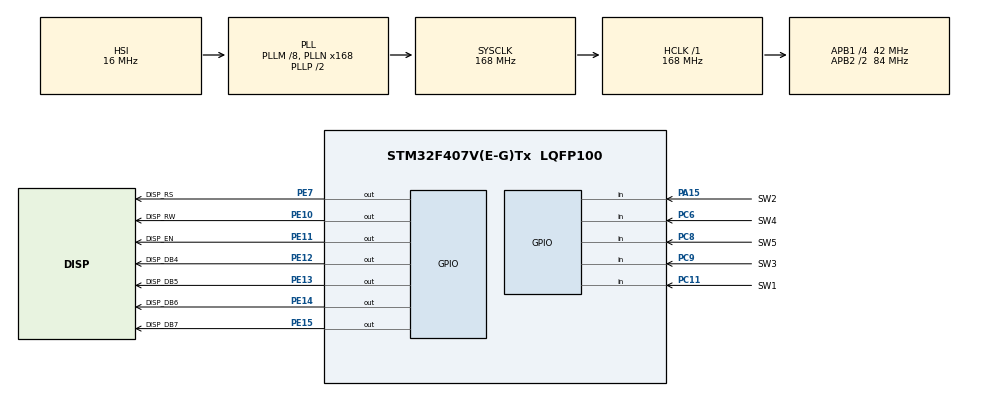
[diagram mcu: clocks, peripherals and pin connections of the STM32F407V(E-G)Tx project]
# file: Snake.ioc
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FREERTOS.Mutexes01=displayMutex,Dynamic,NULL
FREERTOS.Queues01=buttonQueue,8,button_evn_t,0,Dynamic,NULL,NULL
FREERTOS.Tasks01=refreshSnakeTas,8,128,RefreshSnakeTask,Default,NULL,Dynamic,NULL,NULL;buttonTask,24,128,ButtonTask,Default,NULL,Dynamic,NULL,NULL
FREERTOS.Timers01=buttonTimer,ButtonTimer,osTimerPeriodic,Default,NULL,Dynamic,NULL
FREERTOS.configUSE_TIMERS=1
Mcu.Family=STM32F4
Mcu.Name=STM32F407V(E-G)Tx
Mcu.Package=LQFP100
NVIC.PriorityGroup=NVIC_PRIORITYGROUP_4
PA13.Mode=Serial_Wire
PA13.Signal=SYS_JTMS-SWDIO
PA14.Mode=Serial_Wire
PA14.Signal=SYS_JTCK-SWCLK
PA15.GPIO_Label=SW2
PA15.Signal=GPIO_Input
PB1.Signal=ADCx_IN9
PC11.GPIO_Label=SW1
PC11.Signal=GPIO_Input
PC6.GPIO_Label=SW4
PC6.Signal=GPIO_Input
PC8.GPIO_Label=SW5
PC8.Signal=GPIO_Input
PC9.GPIO_Label=SW3
PC9.Signal=GPIO_Input
PE10.GPIO_Label=DISP_RW
PE10.Signal=GPIO_Output
PE11.GPIO_Label=DISP_EN
PE11.Signal=GPIO_Output
PE12.GPIO_Label=DISP_DB4
PE12.Signal=GPIO_Output
PE13.GPIO_Label=DISP_DB5
PE13.Signal=GPIO_Output
PE14.GPIO_Label=DISP_DB6
PE14.Signal=GPIO_Output
PE15.GPIO_Label=DISP_DB7
PE15.Signal=GPIO_Output
PE7.GPIO_Label=DISP_RS
PE7.Signal=GPIO_Output
PH0-OSC_IN.Mode=HSE-External-Oscillator
PH0-OSC_IN.Signal=RCC_OSC_IN
PH1-OSC_OUT.Mode=HSE-External-Oscillator
PH1-OSC_OUT.Signal=RCC_OSC_OUT
ProjectManager.HeapSize=0x200
ProjectManager.StackSize=0x400
ProjectManager.TargetToolchain=STM32CubeIDE
RCC.48MHZClocksFreq_Value=84000000
RCC.AHBFreq_Value=168000000
RCC.APB1CLKDivider=RCC_HCLK_DIV4
RCC.APB1Freq_Value=42000000
RCC.APB1TimFreq_Value=84000000
RCC.APB2CLKDivider=RCC_HCLK_DIV2
RCC.APB2Freq_Value=84000000
RCC.APB2TimFreq_Value=168000000
RCC.CortexFreq_Value=168000000
RCC.HCLKFreq_Value=168000000
RCC.HSE_VALUE=8000000
RCC.HSI_VALUE=16000000
RCC.LSE_VALUE=32768
RCC.PLLM=8
RCC.PLLN=168
RCC.SYSCLKFreq_VALUE=168000000
RCC.SYSCLKSource=RCC_SYSCLKSOURCE_PLLCLK
RCC.VCOOutputFreq_Value=336000000
SH.ADCx_IN9.0=ADC1_IN9
VP_FREERTOS_VS_CMSIS_V2.Mode=CMSIS_V2
board=custom

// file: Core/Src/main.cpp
/* USER CODE BEGIN Header */
/**
  ******************************************************************************
  * @file           : main.c
  * @brief          : Main program body
  ******************************************************************************
  * @attention
  *
  * Copyright (c) 2023 STMicroelectronics.
  * All rights reserved.
  *
  * This software is licensed under terms that can be found in the LICENSE file
  * in the root directory of this software component.
  * If no LICENSE file comes with this software, it is provided AS-IS.
  *
  ******************************************************************************
  */
/* USER CODE END Header */
#include "main.h"
#include "cmsis_os.h"

/* USER CODE BEGIN Includes */
#include <hd44780u.h>
#include <button_driver.h>
#include <gpio.hpp>
#include <stdio.h>
#include <string.h>
#include <snake.hpp>
/* USER CODE END Includes */

/* USER CODE BEGIN PTD */
struct SButtonEvent
{
  size_t idx;
  bool state;
};

typedef struct SButtonEvent button_evn_t;
/* USER CODE END PTD */

/* USER CODE BEGIN PM */
#define GET_ARR_COUNT(arr) (sizeof(arr) / sizeof(arr[0]))
/* USER CODE END PM */

/* Definitions for refreshSnakeTas */
osThreadId_t refreshSnakeTasHandle;
const osThreadAttr_t refreshSnakeTas_attributes = {
  .name = "refreshSnakeTas",
  .stack_size = 128 * 4,
  .priority = (osPriority_t) osPriorityLow,
};
/* Definitions for buttonTask */
osThreadId_t buttonTaskHandle;
const osThreadAttr_t buttonTask_attributes = {
  .name = "buttonTask",
  .stack_size = 128 * 4,
  .priority = (osPriority_t) osPriorityNormal,
};
/* Definitions for buttonQueue */
osMessageQueueId_t buttonQueueHandle;
const osMessageQueueAttr_t buttonQueue_attributes = {
  .name = "buttonQueue"
};
/* Definitions for buttonTimer */
osTimerId_t buttonTimerHandle;
const osTimerAttr_t buttonTimer_attributes = {
  .name = "buttonTimer"
};
/* Definitions for displayMutex */
osMutexId_t displayMutexHandle;
const osMutexAttr_t displayMutex_attributes = {
  .name = "displayMutex"
};
/* USER CODE BEGIN PV */

const gpio_t kDisplayData[] =
{
  {DISP_DB4_GPIO_Port, DISP_DB4_Pin},
  {DISP_DB5_GPIO_Port, DISP_DB5_Pin},
  {DISP_DB6_GPIO_Port, DISP_DB6_Pin},
  {DISP_DB7_GPIO_Port, DISP_DB7_Pin}
};

hd44780u_t gDisplay =
{
  en : {DISP_EN_GPIO_Port, DISP_EN_Pin},
  rw : {DISP_RW_GPIO_Port, DISP_RW_Pin},
  rs : {DISP_RS_GPIO_Port, DISP_RS_Pin},
  dataPins : ((gpio_t* const)kDisplayData)
};

const gpio_t kButtonsGPIO[] =
{
  {SW1_GPIO_Port, SW1_Pin},
  {SW3_GPIO_Port, SW3_Pin},
  {SW4_GPIO_Port, SW4_Pin},
  {SW5_GPIO_Port, SW5_Pin},
  {SW2_GPIO_Port, SW2_Pin}
};

button_hanler_t gButtonHandlers[GET_ARR_COUNT(kButtonsGPIO)];
EMoveDirection gCurrDirection;
uint32_t gRenderTimeTick;
/* USER CODE END PV */

void SystemClock_Config(void);
static void MX_GPIO_Init(void);
void RefreshSnakeTask(void *argument);
void ButtonTask(void *argument);
void ButtonTimer(void *argument);

/* USER CODE BEGIN PFP */
void DrawScreen();
void SnakeMoveController(size_t idx);
/* USER CODE END PFP */

/* USER CODE BEGIN 0 */
static_assert(GET_ARR_COUNT(kButtonsGPIO) == GET_ARR_COUNT(gButtonHandlers), "Invalid buttons configuration!!!");
/* USER CODE END 0 */

int main(void)
{

  /* MCU Configuration--------------------------------------------------------*/

  /* Reset of all peripherals, Initializes the Flash interface and the Systick. */
  HAL_Init();

  /* Configure the system clock */
  SystemClock_Config();

  /* Initialize all configured peripherals */
  MX_GPIO_Init();

  /* Init scheduler */
  osKernelInitialize();
  /* Create the mutex(es) */
  /* creation of displayMutex */

  /* Create the timer(s) */
  /* creation of buttonTimer */
  buttonTimerHandle = osTimerNew(ButtonTimer, osTimerPeriodic, NULL, &buttonTimer_attributes);

  /* Create the queue(s) */
  /* creation of buttonQueue */
  buttonQueueHandle = osMessageQueueNew (8, sizeof(button_evn_t), &buttonQueue_attributes);

  /* Create the thread(s) */
  /* creation of refreshSnakeTas */
  refreshSnakeTasHandle = osThreadNew(RefreshSnakeTask, NULL, &refreshSnakeTas_attributes);

  /* creation of buttonTask */
  buttonTaskHandle = osThreadNew(ButtonTask, NULL, &buttonTask_attributes);

  /* Start scheduler */
  osKernelStart();
  /* We should never get here as control is now taken by the scheduler */
  /* Infinite loop */
  while (1)
  {

  }
}

void SystemClock_Config(void)
{
  RCC_OscInitTypeDef RCC_OscInitStruct = {0};
  RCC_ClkInitTypeDef RCC_ClkInitStruct = {0};

  /** Configure the main internal regulator output voltage
  */
  __HAL_RCC_PWR_CLK_ENABLE();
  __HAL_PWR_VOLTAGESCALING_CONFIG(PWR_REGULATOR_VOLTAGE_SCALE1);

  /** Initializes the RCC Oscillators according to the specified parameters
  * in the RCC_OscInitTypeDef structure.
  */
  RCC_OscInitStruct.OscillatorType = RCC_OSCILLATORTYPE_HSI;
  RCC_OscInitStruct.HSIState = RCC_HSI_ON;
  RCC_OscInitStruct.HSICalibrationValue = RCC_HSICALIBRATION_DEFAULT;
  RCC_OscInitStruct.PLL.PLLState = RCC_PLL_ON;
  RCC_OscInitStruct.PLL.PLLSource = RCC_PLLSOURCE_HSI;
  RCC_OscInitStruct.PLL.PLLM = 8;
  RCC_OscInitStruct.PLL.PLLN = 168;
  RCC_OscInitStruct.PLL.PLLP = RCC_PLLP_DIV2;
  RCC_OscInitStruct.PLL.PLLQ = 4;
  if (HAL_RCC_OscConfig(&RCC_OscInitStruct) != HAL_OK)
  {
    Error_Handler();
  }

  /** Initializes the CPU, AHB and APB buses clocks
  */
  RCC_ClkInitStruct.ClockType = RCC_CLOCKTYPE_HCLK|RCC_CLOCKTYPE_SYSCLK
                              |RCC_CLOCKTYPE_PCLK1|RCC_CLOCKTYPE_PCLK2;
  RCC_ClkInitStruct.SYSCLKSource = RCC_SYSCLKSOURCE_PLLCLK;
  RCC_ClkInitStruct.AHBCLKDivider = RCC_SYSCLK_DIV1;
  RCC_ClkInitStruct.APB1CLKDivider = RCC_HCLK_DIV4;
  RCC_ClkInitStruct.APB2CLKDivider = RCC_HCLK_DIV2;

  if (HAL_RCC_ClockConfig(&RCC_ClkInitStruct, FLASH_LATENCY_5) != HAL_OK)
  {
    Error_Handler();
  }
}

static void MX_GPIO_Init(void)
{
  GPIO_InitTypeDef GPIO_InitStruct = {0};

  /* GPIO Ports Clock Enable */
  __HAL_RCC_GPIOH_CLK_ENABLE();
  __HAL_RCC_GPIOB_CLK_ENABLE();
  __HAL_RCC_GPIOE_CLK_ENABLE();
  __HAL_RCC_GPIOC_CLK_ENABLE();
  __HAL_RCC_GPIOA_CLK_ENABLE();

  /*Configure GPIO pin Output Level */
  HAL_GPIO_WritePin(GPIOE, DISP_RS_Pin|DISP_RW_Pin|DISP_EN_Pin|DISP_DB4_Pin
                          |DISP_DB5_Pin|DISP_DB6_Pin|DISP_DB7_Pin, GPIO_PIN_RESET);

  /*Configure GPIO pin : PB1 */
  GPIO_InitStruct.Pin = GPIO_PIN_1;
  GPIO_InitStruct.Mode = GPIO_MODE_ANALOG;
  GPIO_InitStruct.Pull = GPIO_NOPULL;
  HAL_GPIO_Init(GPIOB, &GPIO_InitStruct);

  /*Configure GPIO pins : DISP_RS_Pin DISP_RW_Pin DISP_EN_Pin DISP_DB4_Pin
                           DISP_DB5_Pin DISP_DB6_Pin DISP_DB7_Pin */
  GPIO_InitStruct.Pin = DISP_RS_Pin|DISP_RW_Pin|DISP_EN_Pin|DISP_DB4_Pin
                          |DISP_DB5_Pin|DISP_DB6_Pin|DISP_DB7_Pin;
  GPIO_InitStruct.Mode = GPIO_MODE_OUTPUT_PP;
  GPIO_InitStruct.Pull = GPIO_NOPULL;
  GPIO_InitStruct.Speed = GPIO_SPEED_FREQ_LOW;
  HAL_GPIO_Init(GPIOE, &GPIO_InitStruct);

  /*Configure GPIO pins : SW4_Pin SW5_Pin SW3_Pin SW1_Pin */
  GPIO_InitStruct.Pin = SW4_Pin|SW5_Pin|SW3_Pin|SW1_Pin;
  GPIO_InitStruct.Mode = GPIO_MODE_INPUT;
  GPIO_InitStruct.Pull = GPIO_NOPULL;
  HAL_GPIO_Init(GPIOC, &GPIO_InitStruct);

  /*Configure GPIO pin : SW2_Pin */
  GPIO_InitStruct.Pin = SW2_Pin;
  GPIO_InitStruct.Mode = GPIO_MODE_INPUT;
  GPIO_InitStruct.Pull = GPIO_NOPULL;
  HAL_GPIO_Init(SW2_GPIO_Port, &GPIO_InitStruct);

}

/* USER CODE BEGIN 4 */

void HD44780UDelayUS(volatile uint32_t micros)
{
  if (micros % 1000)
  {
    micros /= 1000;
    ++micros;
  }
  else
  {
    micros /= 1000;
  }

  osDelay(micros);
}

void ButtonEventHanler(size_t idx, bool state)
{
  button_evn_t event{idx, state};
  osMessageQueuePut(buttonQueueHandle, &event, 0, 0);
}

void DrawScreen()
{
  char field[kMaxSnakeSize + 1];
  memset(field, ' ', kMaxSnakeSize);
  field[kMaxSnakeSize] = '\0';

  if (SnakeMove(gCurrDirection))
  {
    SnakeGenerateAple(osKernelGetSysTimerCount());
  }

  DrawSnake([&field](SPoint& point) -> void
  {
    field[(point.y * (kMaxPoint.x + 1)) + point.x] = 'O';
  });

  field[(gAple.y * (kMaxPoint.x + 1)) + gAple.x] = '+';

  if (osMutexAcquire(displayMutexHandle, osWaitForever) == osOK)
  {
    HD44780UWriteString(&gDisplay, field);
    osMutexRelease(displayMutexHandle);
    gRenderTimeTick = osKernelGetTickCount() + 1000;
  }
}

void SnakeMoveController(size_t idx)
{
  const EMoveDirection directions [] =
  {
    EMoveDirection::Right,
    EMoveDirection::Left,
    EMoveDirection::Up,
    EMoveDirection::Down
  };

  const EMoveDirection reversedDirections [] =
  {
    EMoveDirection::Left,
    EMoveDirection::Right,
    EMoveDirection::Down,
    EMoveDirection::Up
  };

  if ((directions[idx] != gCurrDirection) && (reversedDirections[idx] != gCurrDirection))
  {
    gCurrDirection = directions[idx];
    DrawScreen();
  }
}

/* USER CODE END 4 */

void RefreshSnakeTask(void *argument)
{
  /* USER CODE BEGIN 5 */
  gDisplay.blinkCursorState = false;
  gDisplay.cursorState = false;
  HD44780UInit(&gDisplay);
  SnakeReset();
  SnakeGenerateAple(osKernelGetSysTimerCount());
  gCurrDirection = EMoveDirection::Right;
  displayMutexHandle = osMutexNew(&displayMutex_attributes);
  /* Infinite loop */
  for(;;)
  {
    DrawScreen();
    osDelayUntil(gRenderTimeTick);
  }
  /* USER CODE END 5 */
}

void ButtonTask(void *argument)
{
  /* USER CODE BEGIN ButtonTask */
  ButtonHandlerInit(gButtonHandlers, kButtonsGPIO, GET_ARR_COUNT(gButtonHandlers));
  osTimerStart(buttonTimerHandle, 5);
  /* Infinite loop */
  for(;;)
  {
    button_evn_t event;

    if (osMessageQueueGet(buttonQueueHandle, &event, NULL, osWaitForever) == osOK)
    {
      if (event.idx < 4)
      {
        if (event.state)
        {
          SnakeMoveController(event.idx);
        }
      }
      else
      {
        //
      }
    }
  }
  /* USER CODE END ButtonTask */
}

/* ButtonTimer function */
void ButtonTimer(void *argument)
{
  /* USER CODE BEGIN ButtonTimer */
  ButtonHandler(gButtonHandlers, GET_ARR_COUNT(gButtonHandlers));
  /* USER CODE END ButtonTimer */
}

void Error_Handler(void)
{
  __disable_irq();
  while (1)
  {
  }
}
